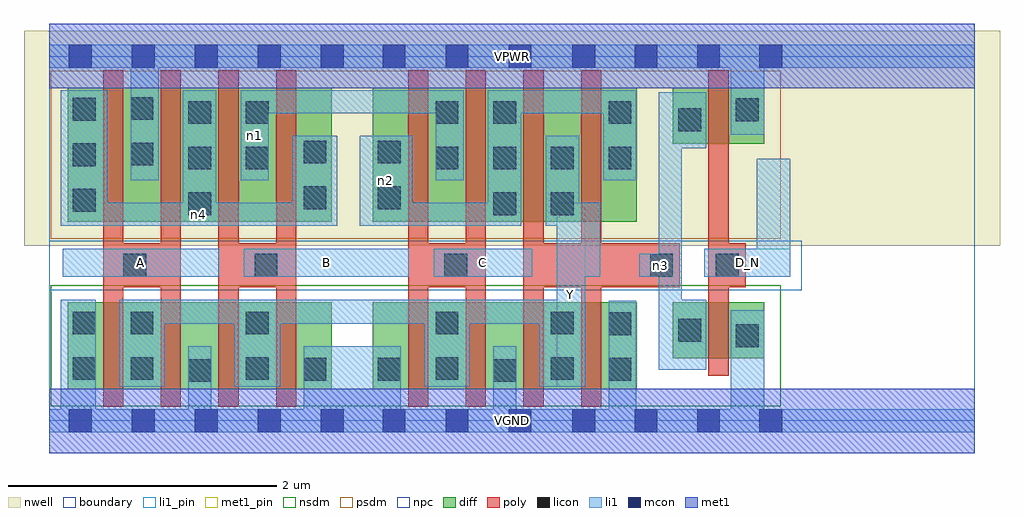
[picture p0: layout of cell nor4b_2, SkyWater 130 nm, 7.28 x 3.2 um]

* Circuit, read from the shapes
.subckt nor4b_2 A B C D_N VGND VPWR Y n1 n2 n3 n4
XM1 Y A VGND VSUBS sky130_fd_pr__nfet_01v8 w=0.65 l=0.15 m=2
XM2 Y B VGND VSUBS sky130_fd_pr__nfet_01v8 w=0.65 l=0.15 m=2
XM3 Y C VGND VSUBS sky130_fd_pr__nfet_01v8 w=0.65 l=0.15 m=2
XM4 Y n3 VGND VSUBS sky130_fd_pr__nfet_01v8 w=0.65 l=0.15 m=2
XM5 VGND D_N n3 VSUBS sky130_fd_pr__nfet_01v8 w=0.42 l=0.15
XM6 VPWR A n4 n5 sky130_fd_pr__pfet_01v8 w=1 l=0.15 m=2
XM7 n1 B n4 n5 sky130_fd_pr__pfet_01v8 w=1 l=0.15 m=2
XM8 n1 C n2 n5 sky130_fd_pr__pfet_01v8 w=1 l=0.15 m=2
XM9 Y n3 n2 n5 sky130_fd_pr__pfet_01v8 w=1 l=0.15 m=2
XM10 VPWR D_N n3 n5 sky130_fd_pr__pfet_01v8 w=0.42 l=0.15
.ends

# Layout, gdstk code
import gdstk
lib = gdstk.Library(unit=1e-6, precision=1e-09)
def R(c, l, rs):  # rectangles x0, y0, x1, y1
    for r in rs: c.add(gdstk.rectangle(r[:2], r[2:], *l))
def A(c, l, x, y, w, h, nx, ny, dx, dy):  # array of equal rectangles
    R(c, l, [(x+i*dx, y+j*dy, x+i*dx+w, y+j*dy+h) for i in range(nx) for j in range(ny)])
nwell = (64, 20)
diff = (65, 20)
poly = (66, 20)
licon = (66, 44)
li1_pin = (67, 16)
li1 = (67, 20)
mcon = (67, 44)
met1_pin = (68, 16)
met1 = (68, 20)
nsdm = (93, 44)
psdm = (94, 20)
npc = (95, 20)
boundary = (235, 4)

nor4b_2 = lib.new_cell('nor4b_2')
R(nor4b_2, nwell, [(-0.19,1.305,7.09,2.91), (0,1.305,6.9,2.91)])
R(nor4b_2, diff, [(0.135,0.235,2.105,0.885), (2.41,0.235,4.38,0.885), (4.65,0.465,5.33,0.885), (0.135,1.485,2.105,2.485), (2.41,1.485,4.38,2.485), (4.65,2.065,5.33,2.485)])
A(nor4b_2, poly, 0.4, 0.105, 0.15, 2.51, 4, 1, 0.43, 0)
A(nor4b_2, poly, 2.675, 0.105, 0.15, 2.51, 4, 1, 0.43, 0)
R(nor4b_2, poly, [(4.915,0.335,5.065,2.615), (0.4,0.995,0.98,1.325), (1.26,0.995,1.84,1.325), (2.675,0.995,3.255,1.325), (3.535,0.995,4.7,1.325), (4.915,0.995,5.195,1.325)])
A(nor4b_2, licon, 1.035, 1.535, 0.17, 0.17, 1, 3, 0, 0.34)
A(nor4b_2, licon, 0.175, 1.56, 0.17, 0.17, 1, 3, 0, 0.34)
A(nor4b_2, licon, 2.88, 1.875, 0.17, 0.17, 4, 1, 0.43, 0)
R(nor4b_2, licon, [(1.035,0.29,1.205,0.46), (3.31,0.29,3.48,0.46), (1.895,0.3,2.065,0.47), (2.45,0.3,2.62,0.47), (4.17,0.3,4.34,0.47), (0.175,0.305,0.345,0.475), (0.605,0.305,0.775,0.475), (1.465,0.305,1.635,0.475), (2.88,0.305,3.05,0.475), (3.74,0.305,3.91,0.475), (5.12,0.55,5.29,0.72), (4.69,0.59,4.86,0.76), (4.17,0.64,4.34,0.81), (0.175,0.645,0.345,0.815), (0.605,0.645,0.775,0.815), (1.465,0.645,1.635,0.815), (2.88,0.645,3.05,0.815), (3.74,0.645,3.91,0.815), (0.55,1.075,0.72,1.245), (1.53,1.075,1.7,1.245), (2.945,1.075,3.115,1.245), (4.48,1.075,4.65,1.245), (4.97,1.075,5.14,1.245), (3.31,1.535,3.48,1.705), (3.74,1.535,3.91,1.705), (1.895,1.58,2.065,1.75), (2.45,1.58,2.62,1.75), (1.465,1.875,1.635,2.045), (0.605,1.905,0.775,2.075), (1.895,1.92,2.065,2.09), (2.45,1.92,2.62,2.09), (4.69,2.16,4.86,2.33), (1.465,2.215,1.635,2.385), (2.88,2.215,3.05,2.385), (3.31,2.215,3.48,2.385), (4.17,2.215,4.34,2.385), (5.12,2.235,5.29,2.405), (0.605,2.245,0.775,2.415)])
R(nor4b_2, li1_pin, [(3.785,0.255,3.995,1.625), (0.1,1.075,1.265,1.285), (1.45,1.075,2.68,1.285), (2.865,1.075,3.6,1.285), (4.885,1.075,5.525,1.285)])
R(nor4b_2, li1, [(0,-0.085,6.9,0.085), (0.085,-0.085,0.345,0.905), (1.035,-0.085,1.205,0.555), (1.895,-0.085,2.62,0.555), (3.31,-0.085,3.48,0.555), (4.17,-0.085,4.375,0.895), (5.08,-0.085,5.33,0.825), (0.52,0.255,0.86,0.905), (1.38,0.255,1.72,0.905), (2.795,0.255,3.135,0.905), (3.655,0.255,3.995,0.905), (3.785,0.255,3.995,1.625), (4.545,0.38,4.715,2.45), (4.545,0.38,4.9,0.905), (0.52,0.725,3.995,0.905), (0.1,1.075,1.265,1.285), (1.45,1.075,2.68,1.285), (2.865,1.075,3.6,1.285), (3.785,1.075,4.11,1.625), (4.4,1.075,4.715,1.245), (4.885,1.075,5.525,1.285), (5.275,1.075,5.525,1.955), (0.085,1.455,2.145,1.625), (0.085,1.455,0.43,2.465), (0.995,1.455,1.245,2.465), (1.81,1.455,2.145,2.125), (2.315,1.455,2.705,2.125), (2.315,1.455,3.52,1.625), (3.27,1.455,3.52,2.465), (3.7,1.455,3.95,2.125), (0.605,1.795,0.815,2.805), (1.425,1.795,1.635,2.465), (2.88,1.795,3.09,2.465), (4.13,1.795,4.375,2.465), (4.545,2.035,4.9,2.45), (5.08,2.135,5.33,2.805), (1.425,2.295,3.09,2.465), (3.27,2.295,4.375,2.465), (0,2.635,6.9,2.805)])
A(nor4b_2, mcon, 0.145, -0.085, 0.17, 0.17, 5, 2, 0.47, 2.72)
A(nor4b_2, mcon, 2.485, -0.085, 0.17, 0.17, 3, 2, 0.47, 2.72)
A(nor4b_2, mcon, 3.9, -0.085, 0.17, 0.17, 4, 2, 0.465, 2.72)
R(nor4b_2, met1_pin, [(0,-0.24,6.9,0.24), (0,2.48,6.9,2.96)])
R(nor4b_2, met1, [(0,-0.24,6.9,0.24), (0,2.48,6.9,2.96)])
R(nor4b_2, nsdm, [(0.01,0.11,5.455,1.01)])
R(nor4b_2, psdm, [(0.01,1.36,5.455,2.61)])
R(nor4b_2, npc, [(0,0.975,5.61,1.345)])
R(nor4b_2, boundary, [(0,0,6.9,2.72)])
nor4b_2.add(gdstk.Label('A', (0.682,1.18), layer=67, texttype=5))
nor4b_2.add(gdstk.Label('B', (2.065,1.18), layer=67, texttype=5))
nor4b_2.add(gdstk.Label('C', (3.232,1.18), layer=67, texttype=5))
nor4b_2.add(gdstk.Label('D_N', (5.205,1.18), layer=67, texttype=5))
nor4b_2.add(gdstk.Label('Y', (3.89,0.94), layer=67, texttype=5))
nor4b_2.add(gdstk.Label('n3', (4.557,1.16), layer=67, texttype=5))
nor4b_2.add(gdstk.Label('n4', (1.115,1.54), layer=67, texttype=5))
nor4b_2.add(gdstk.Label('n1', (1.53,2.13), layer=67, texttype=5))
nor4b_2.add(gdstk.Label('n2', (2.51,1.79), layer=67, texttype=5))
nor4b_2.add(gdstk.Label('VPWR', (3.45,2.72), layer=68, texttype=5))
nor4b_2.add(gdstk.Label('VGND', (3.45,0), layer=68, texttype=5))
nor4b_2.add(gdstk.Label('A', (0.682,1.18), layer=67, texttype=16))
nor4b_2.add(gdstk.Label('B', (2.065,1.18), layer=67, texttype=16))
nor4b_2.add(gdstk.Label('C', (3.232,1.18), layer=67, texttype=16))
nor4b_2.add(gdstk.Label('D_N', (5.205,1.18), layer=67, texttype=16))
nor4b_2.add(gdstk.Label('Y', (3.89,0.94), layer=67, texttype=16))
nor4b_2.add(gdstk.Label('VPWR', (3.45,2.72), layer=68, texttype=16))
nor4b_2.add(gdstk.Label('VGND', (3.45,0), layer=68, texttype=16))

lib.write_gds('nor4b_2.gds')
